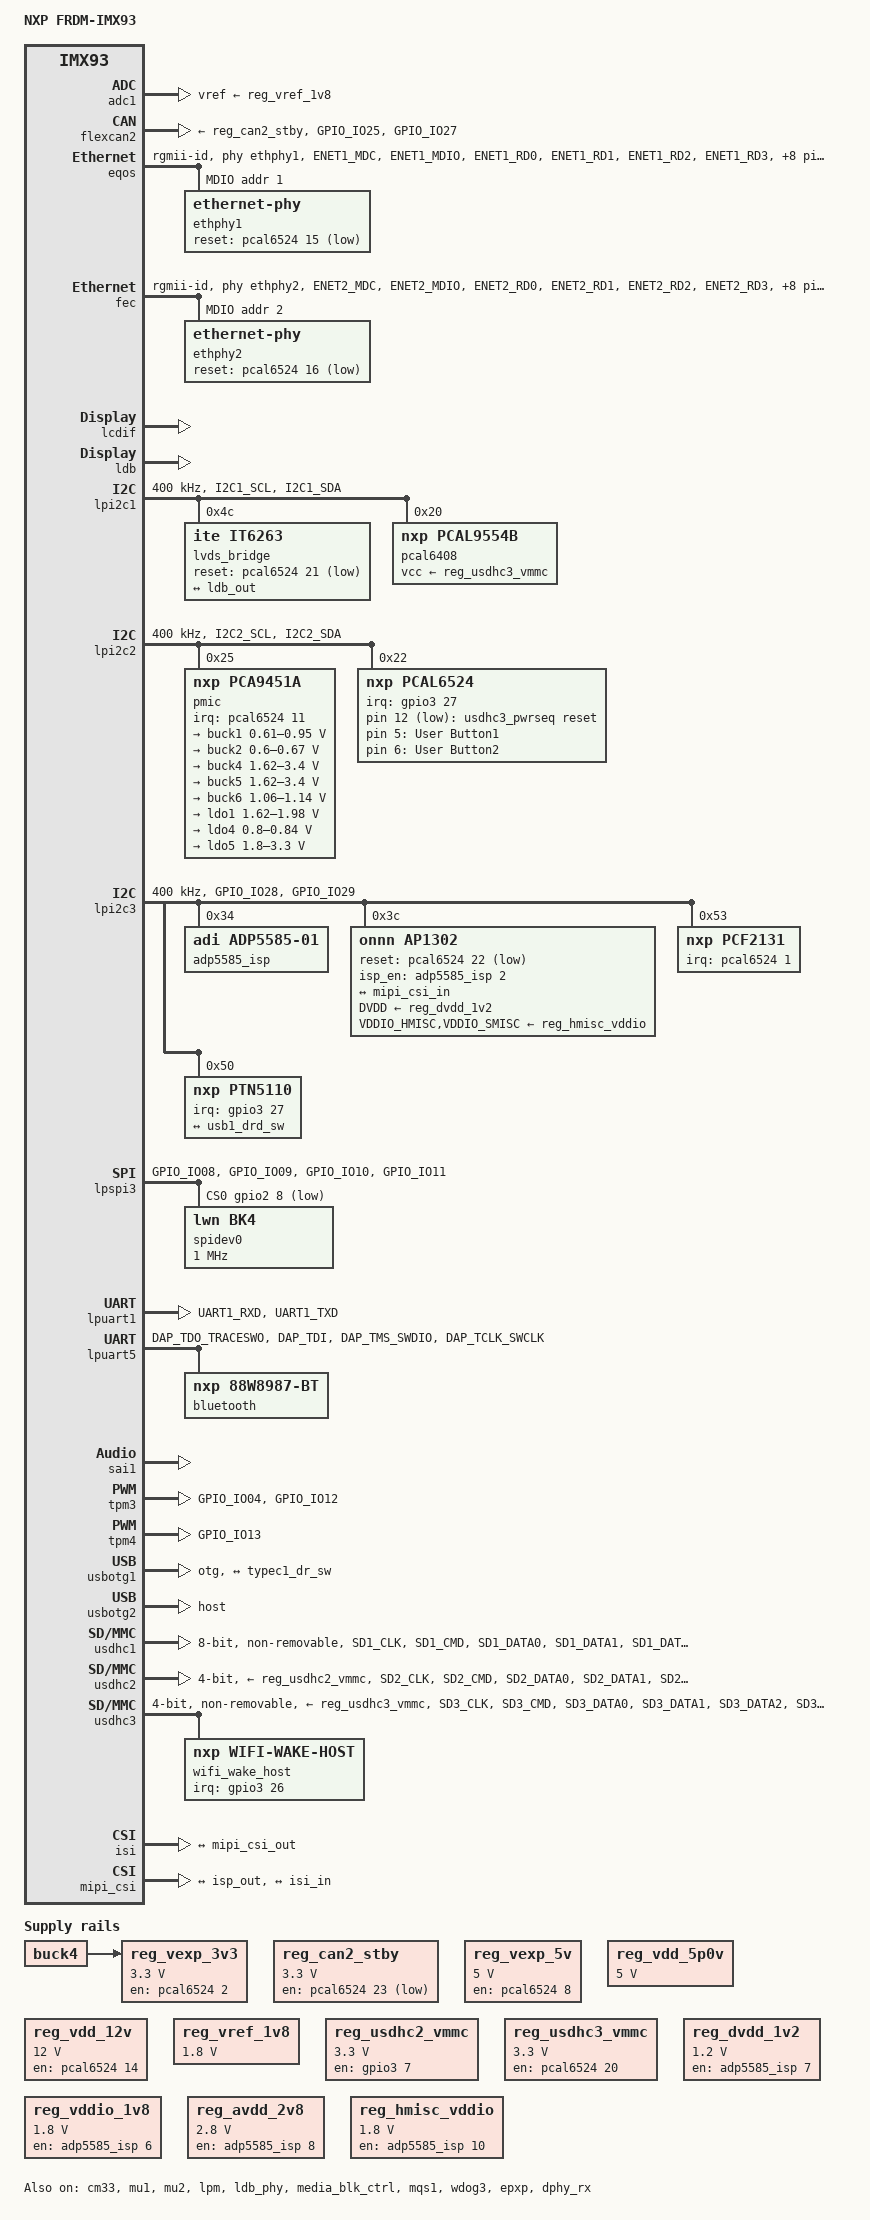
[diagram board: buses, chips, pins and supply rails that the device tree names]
// SPDX-License-Identifier: (GPL-2.0+ OR MIT)
/*
 * Copyright 2025 NXP
 */

/dts-v1/;

#include <dt-bindings/usb/pd.h>
#include "imx93.dtsi"

&ele_fw2 {
	memory-region = <&ele_reserved>;
};

/ {
	model = "NXP FRDM-IMX93";
	compatible = "fsl,frdm-imx93", "fsl,imx93";

	chosen {
		stdout-path = &lpuart1;
	};

	reserved-memory {
		#address-cells = <2>;
		#size-cells = <2>;
		ranges;

		linux,cma {
			compatible = "shared-dma-pool";
			reusable;
			alloc-ranges = <0 0x80000000 0 0x30000000>;
			size = <0 0x10000000>;
			linux,cma-default;
		};

		ethosu_mem: ethosu_region@A8000000 {
			compatible = "shared-dma-pool";
			reusable;
			reg = <0x0 0xA8000000 0x0 0x08000000>;
		};

		vdev0vring0: vdev0vring0@a4000000 {
			reg = <0 0xa4000000 0 0x8000>;
			no-map;
		};

		vdev0vring1: vdev0vring1@a4008000 {
			reg = <0 0xa4008000 0 0x8000>;
			no-map;
		};

		vdev1vring0: vdev1vring0@a4010000 {
			reg = <0 0xa4010000 0 0x8000>;
			no-map;
		};

		vdev1vring1: vdev1vring1@a4018000 {
			reg = <0 0xa4018000 0 0x8000>;
			no-map;
		};

		rsc_table: rsc-table@2021e000 {
			reg = <0 0x2021e000 0 0x1000>;
			no-map;
		};

		vdevbuffer: vdevbuffer@a4020000 {
			compatible = "shared-dma-pool";
			reg = <0 0xa4020000 0 0x100000>;
			no-map;
		};

		ele_reserved: ele-reserved@a4120000 {
			compatible = "shared-dma-pool";
			reg = <0 0xa4120000 0 0x100000>;
			no-map;
		};
	};

	ethosu {
		compatible = "arm,ethosu";
		fsl,cm33-proc = <&cm33>;
		memory-region = <&ethosu_mem>;
		power-domains = <&mlmix>;
	};

	reg_can2_stby: regulator-can2-stby {
		compatible = "regulator-fixed";
		regulator-name = "can2-stby";
		regulator-min-microvolt = <3300000>;
		regulator-max-microvolt = <3300000>;
		gpio = <&pcal6524 23 GPIO_ACTIVE_LOW>;
		enable-active-low;
	};

	reg_vexp_3v3: regulator-vexp-3v3 {
		compatible = "regulator-fixed";
		regulator-name = "VEXP_3V3";
		gpio = <&pcal6524 2 GPIO_ACTIVE_HIGH>;
		regulator-min-microvolt = <3300000>;
		regulator-max-microvolt = <3300000>;
		enable-active-high;
		vin-supply = <&buck4>;
	};

	reg_vexp_5v: regulator-vexp-5v {
		compatible = "regulator-fixed";
		regulator-name = "VEXP_5V";
		gpio = <&pcal6524 8 GPIO_ACTIVE_HIGH>;
		regulator-min-microvolt = <5000000>;
		regulator-max-microvolt = <5000000>;
		enable-active-high;
	};

	reg_vdd_5p0v: regulator-vdd-5p0v {
		compatible = "regulator-fixed";
		regulator-name = "VDD-5P0V";
		regulator-min-microvolt = <5000000>;
		regulator-max-microvolt = <5000000>;
		regulator-always-on;
	};

	reg_vdd_12v: regulator-vdd-12v {
		compatible = "regulator-fixed";
		regulator-name = "reg_vdd_12v";
		regulator-min-microvolt = <12000000>;
		regulator-max-microvolt = <12000000>;
		gpio = <&pcal6524 14 GPIO_ACTIVE_HIGH>;
		enable-active-high;
	};

	reg_vref_1v8: regulator-adc-vref {
		compatible = "regulator-fixed";
		regulator-name = "vref_1v8";
		regulator-min-microvolt = <1800000>;
		regulator-max-microvolt = <1800000>;
	};

	reg_usdhc2_vmmc: regulator-usdhc2 {
		compatible = "regulator-fixed";
		pinctrl-names = "default";
		pinctrl-0 = <&pinctrl_reg_usdhc2_vmmc>;
		regulator-name = "VSD_3V3";
		regulator-min-microvolt = <3300000>;
		regulator-max-microvolt = <3300000>;
		gpio = <&gpio3 7 GPIO_ACTIVE_HIGH>;
		off-on-delay-us = <12000>;
		enable-active-high;
	};

	reg_usdhc3_vmmc: regulator-usdhc3 {
		compatible = "regulator-fixed";
		regulator-name = "WLAN_EN";
		regulator-min-microvolt = <3300000>;
		regulator-max-microvolt = <3300000>;
		gpio = <&pcal6524 20 GPIO_ACTIVE_HIGH>;
		/*
		 * IW612 wifi chip needs more delay than other wifi chips to complete
		 * the host interface initialization after power up, otherwise the
		 * internal state of IW612 may be unstable, resulting in the failure of
		 * the SDIO3.0 switch voltage.
		 */
		startup-delay-us = <20000>;
		enable-active-high;
	};

	usdhc3_pwrseq: usdhc3_pwrseq {
		compatible = "mmc-pwrseq-simple";
		reset-gpios = <&pcal6524 12 GPIO_ACTIVE_LOW>;
	};

	reg_dvdd_1v2: regulator-dvdd {
		compatible = "regulator-fixed";
		regulator-name = "DVDD_1V2";
		gpio = <&adp5585_isp 7 GPIO_ACTIVE_HIGH>;
		regulator-min-microvolt = <1200000>;
		regulator-max-microvolt = <1200000>;
		enable-active-high;
	};

	reg_vddio_1v8: regulator-vddo {
		compatible = "regulator-fixed";
		regulator-name = "VDDIO_1V8";
		gpio = <&adp5585_isp 6 GPIO_ACTIVE_HIGH>;
		regulator-min-microvolt = <1800000>;
		regulator-max-microvolt = <1800000>;
		enable-active-high;
	};

	reg_avdd_2v8: regulator-avdd {
		compatible = "regulator-fixed";
		regulator-name = "AVDD_2V8";
		gpio = <&adp5585_isp 8 GPIO_ACTIVE_HIGH>;
		regulator-min-microvolt = <2800000>;
		regulator-max-microvolt = <2800000>;
		enable-active-high;
	};

	reg_hmisc_vddio: regulator-hmisc-vddio {
		compatible = "regulator-fixed";
		regulator-name = "HMISC_VDDIO_1V8";
		gpio = <&adp5585_isp 10 GPIO_ACTIVE_HIGH>;
		regulator-min-microvolt = <1800000>;
		regulator-max-microvolt = <1800000>;
		enable-active-high;
	};

	sound-mqs {
		compatible = "fsl,imx6sx-sdb-mqs",
			     "fsl,imx-audio-mqs";
		model = "mqs-audio";
		audio-cpu = <&sai1>;
		audio-codec = <&mqs1>;
	};

	sw-keys {
		compatible = "gpio-keys";

		K2: user_btn1 {
			label = "User Button1";
			linux,code = <BTN_1>;
			gpios = <&pcal6524 5 GPIO_PULL_UP>;
			interrupt-parent = <&pcal6524>;
			interrupts = <5 IRQ_TYPE_EDGE_FALLING>;
		};

		K3: user_btn2 {
			label = "User Button2";
			linux,code = <BTN_2>;
			gpios = <&pcal6524 6 GPIO_PULL_UP>;
			interrupt-parent = <&pcal6524>;
			interrupts = <6 IRQ_TYPE_EDGE_FALLING>;
		};
	};
};

&adc1 {
	vref-supply = <&reg_vref_1v8>;
	status = "okay";
};

&cm33 {
	mbox-names = "tx", "rx", "rxdb";
	mboxes = <&mu1 0 1>,
		 <&mu1 1 1>,
		 <&mu1 3 1>;
	memory-region = <&vdevbuffer>, <&vdev0vring0>, <&vdev0vring1>,
			<&vdev1vring0>, <&vdev1vring1>, <&rsc_table>;
	fsl,startup-delay-ms = <500>;
	status = "okay";
};

&flexcan2 {
	pinctrl-names = "default", "sleep";
	pinctrl-0 = <&pinctrl_flexcan2>;
	pinctrl-1 = <&pinctrl_flexcan2_sleep>;
	xceiver-supply = <&reg_can2_stby>;
	status = "okay";
};

&mu1 {
	status = "okay";
};

&mu2 {
	status = "okay";
};

&eqos {
	pinctrl-names = "default", "sleep";
	pinctrl-0 = <&pinctrl_eqos>;
	pinctrl-1 = <&pinctrl_eqos_sleep>;
	phy-mode = "rgmii-id";
	phy-handle = <&ethphy1>;
	status = "okay";

	mdio {
		compatible = "snps,dwmac-mdio";
		#address-cells = <1>;
		#size-cells = <0>;
		clock-frequency = <5000000>;

		ethphy1: ethernet-phy@1 {
			reg = <1>;
			reset-gpios = <&pcal6524 15 GPIO_ACTIVE_LOW>;
			reset-assert-us = <10000>;
			reset-deassert-us = <80000>;
		};
	};
};

&fec {
	pinctrl-names = "default", "sleep";
	pinctrl-0 = <&pinctrl_fec>;
	pinctrl-1 = <&pinctrl_fec_sleep>;
	phy-mode = "rgmii-id";
	phy-handle = <&ethphy2>;
	fsl,magic-packet;
	status = "okay";

	mdio {
		#address-cells = <1>;
		#size-cells = <0>;
		clock-frequency = <5000000>;

		ethphy2: ethernet-phy@2 {
			reg = <2>;
			eee-broken-1000t;
			reset-gpios = <&pcal6524 16 GPIO_ACTIVE_LOW>;
			reset-assert-us = <10000>;
			reset-deassert-us = <80000>;
		};
	};
};

&lcdif {
	status = "okay";
	assigned-clock-rates = <1039500000>, <148444444>, <400000000>, <133333333>;
};

&lpm {
	soc-supply = <&buck1>;
	status = "okay";
};

&ldb {
	status = "okay";

	lvds-channel@0 {
		status = "okay";

		port@1 {
			reg = <1>;

			ldb_out: endpoint {
				remote-endpoint = <&it6263_0_in>;
			};
		};
	};
};

&ldb_phy {
	status = "okay";
};

&lpi2c1 {
	#address-cells = <1>;
	#size-cells = <0>;
	clock-frequency = <400000>;
	pinctrl-names = "default", "sleep";
	pinctrl-0 = <&pinctrl_lpi2c1>;
	pinctrl-1 = <&pinctrl_lpi2c1>;
	status = "okay";

	lvds_bridge: lvds-to-hdmi-bridge@4c {
		compatible = "ite,it6263";
		reg = <0x4c>;
		reset-gpio = <&pcal6524 21 GPIO_ACTIVE_LOW>;
		status = "okay";

		port {
			it6263_0_in: endpoint {
				remote-endpoint = <&ldb_out>;
			};
		};
	};

	pcal6408: gpio@20 {
		compatible = "nxp,pcal9554b";
		reg = <0x20>;
		gpio-controller;
		#gpio-cells = <2>;
		vcc-supply = <&reg_usdhc3_vmmc>;
		status = "okay";
	};

};

&lpi2c2 {
	#address-cells = <1>;
	#size-cells = <0>;
	clock-frequency = <400000>;
	pinctrl-names = "default", "sleep";
	pinctrl-0 = <&pinctrl_lpi2c2>;
	pinctrl-1 = <&pinctrl_lpi2c2>;
	status = "okay";

	pmic@25 {
		compatible = "nxp,pca9451a";
		reg = <0x25>;
		interrupt-parent = <&pcal6524>;
		interrupts = <11 IRQ_TYPE_EDGE_FALLING>;

		regulators {
			buck1: BUCK1 {
				regulator-name = "BUCK1";
				regulator-min-microvolt = <610000>;
				regulator-max-microvolt = <950000>;
				regulator-boot-on;
				regulator-always-on;
				regulator-ramp-delay = <3125>;
			};

			buck2: BUCK2 {
				regulator-name = "BUCK2";
				regulator-min-microvolt = <600000>;
				regulator-max-microvolt = <670000>;
				regulator-boot-on;
				regulator-always-on;
				regulator-ramp-delay = <3125>;
			};

			buck4: BUCK4{
				regulator-name = "BUCK4";
				regulator-min-microvolt = <1620000>;
				regulator-max-microvolt = <3400000>;
				regulator-boot-on;
				regulator-always-on;
			};

			buck5: BUCK5{
				regulator-name = "BUCK5";
				regulator-min-microvolt = <1620000>;
				regulator-max-microvolt = <3400000>;
				regulator-boot-on;
				regulator-always-on;
			};

			buck6: BUCK6 {
				regulator-name = "BUCK6";
				regulator-min-microvolt = <1060000>;
				regulator-max-microvolt = <1140000>;
				regulator-boot-on;
				regulator-always-on;
			};

			ldo1: LDO1 {
				regulator-name = "LDO1";
				regulator-min-microvolt = <1620000>;
				regulator-max-microvolt = <1980000>;
				regulator-boot-on;
				regulator-always-on;
			};

			ldo4: LDO4 {
				regulator-name = "LDO4";
				regulator-min-microvolt = <800000>;
				regulator-max-microvolt = <840000>;
				regulator-boot-on;
				regulator-always-on;
			};

			ldo5: LDO5 {
				regulator-name = "LDO5";
				regulator-min-microvolt = <1800000>;
				regulator-max-microvolt = <3300000>;
				regulator-boot-on;
				regulator-always-on;
			};
		};
	};

	pcal6524: gpio@22 {
		compatible = "nxp,pcal6524";
		pinctrl-names = "default";
		pinctrl-0 = <&pinctrl_pcal6524>;
		reg = <0x22>;
		gpio-controller;
		#gpio-cells = <2>;
		interrupt-controller;
		#interrupt-cells = <2>;
		interrupt-parent = <&gpio3>;
		interrupts = <27 IRQ_TYPE_LEVEL_LOW>;
	};
};

&lpi2c3 {
	clock-frequency = <400000>;
	pinctrl-names = "default";
	pinctrl-0 = <&pinctrl_lpi2c3>;
	status = "okay";

	adp5585_isp: io-expander-isp@34 {
		compatible = "adi,adp5585-01", "adi,adp5585";
		reg = <0x34>;
		gpio-controller;
		#gpio-cells = <2>;
		#pwm-cells = <3>;
	};

	ap1302: ap1302_mipi@3c {
		compatible = "onnn,ap1302";
		reg = <0x3c>;
		clocks = <&clk IMX93_CLK_24M>;
		reset-gpios   = <&pcal6524 22 GPIO_ACTIVE_LOW>;
		isp_en-gpios  = <&adp5585_isp 2 GPIO_ACTIVE_HIGH>;
		orientation = <2>;
		rotation = <0>;
		DVDD-supply   = <&reg_dvdd_1v2>;
		VDDIO_HMISC-supply  = <&reg_hmisc_vddio>;
		VDDIO_SMISC-supply   = <&reg_hmisc_vddio>;
		status = "okay";

		ports {
			#address-cells = <1>;
			#size-cells = <0>;

			port@0 {
				reg = <0>;
			};

			port@1 {
				reg = <1>;
			};

			port@2 {
				reg = <2>;

				isp_out: endpoint {
					remote-endpoint = <&mipi_csi_in>;
					data-lanes = <1 2>;
				};
			};
		};

		sensors {
			#address-cells = <1>;
			#size-cells = <0>;

			onnn,model = "onnn,ar0144";

			sensor@0 {
				reg = <0>;

				vdd-supply = <&reg_dvdd_1v2>;
				vddio-supply = <&reg_vddio_1v8>;
				vaa-supply = <&reg_avdd_2v8>;
			};
		};
	};

	pcf2131: rtc@53 {
			compatible = "nxp,pcf2131";
			reg = <0x53>;
			interrupt-parent = <&pcal6524>;
			interrupts = <1 IRQ_TYPE_EDGE_FALLING>;
			status = "okay";
	};

	ptn5110: tcpc@50 {
		compatible = "nxp,ptn5110", "tcpci";
		reg = <0x50>;
		interrupt-parent = <&gpio3>;
		interrupts = <27 IRQ_TYPE_LEVEL_LOW>;

		typec1_con: connector {
			compatible = "usb-c-connector";
			label = "USB-C";
			power-role = "dual";
			data-role = "dual";
			try-power-role = "sink";
			source-pdos = <PDO_FIXED(5000, 3000, PDO_FIXED_USB_COMM)>;
			sink-pdos = <PDO_FIXED(5000, 3000, PDO_FIXED_USB_COMM)
				     PDO_VAR(5000, 20000, 3000)>;
			op-sink-microwatt = <15000000>;
			self-powered;

			ports {
				#address-cells = <1>;
				#size-cells = <0>;

				port@0 {
					reg = <0>;

					typec1_dr_sw: endpoint {
						remote-endpoint = <&usb1_drd_sw>;
					};
				};
			};
		};
	};
};

&lpspi3 {
	fsl,spi-num-chipselects = <1>;
	pinctrl-names = "default";
	pinctrl-0 = <&pinctrl_lpspi3>;
	cs-gpios = <&gpio2 8 GPIO_ACTIVE_LOW>;
	pinctrl-assert-gpios = <&pcal6408 0 GPIO_ACTIVE_HIGH>;
	status = "okay";

	spidev0: spi@0 {
		reg = <0>;
		compatible = "lwn,bk4";
		spi-max-frequency = <1000000>;
	};
};

&lpuart1 { /* console */
	pinctrl-names = "default";
	pinctrl-0 = <&pinctrl_uart1>;
	status = "okay";
};

&lpuart5 {
	/* BT */
	pinctrl-names = "default";
	pinctrl-assert-gpios = <&pcal6524 19 GPIO_ACTIVE_HIGH>;
	pinctrl-0 = <&pinctrl_uart5>;
	status = "okay";

	bluetooth {
		compatible = "nxp,88w8987-bt";
	};
};

&media_blk_ctrl {
	status = "okay";
};

&mqs1 {
	pinctrl-names = "default";
	pinctrl-0 = <&pinctrl_mqs1>;
	clocks = <&clk IMX93_CLK_MQS1_GATE>;
	clock-names = "mclk";
	status = "okay";
};

&sai1 {
	#sound-dai-cells = <0>;
	clocks = <&clk IMX93_CLK_SAI1_IPG>, <&clk IMX93_CLK_DUMMY>,
		 <&clk IMX93_CLK_SAI1_GATE>, <&clk IMX93_CLK_DUMMY>,
		 <&clk IMX93_CLK_DUMMY>, <&clk IMX93_CLK_AUDIO_PLL>;
	clock-names = "bus", "mclk0", "mclk1", "mclk2", "mclk3", "pll8k";
	assigned-clocks = <&clk IMX93_CLK_SAI1>;
	assigned-clock-parents = <&clk IMX93_CLK_AUDIO_PLL>;
	assigned-clock-rates = <24576000>;
	fsl,sai-mclk-direction-output;
	status = "okay";
};

&tpm3 {
	pinctrl-names = "default";
	pinctrl-0 = <&pinctrl_led1>;
	status = "okay";
};

&tpm4 {
	pinctrl-names = "default";
	pinctrl-0 = <&pinctrl_led2>;
	status = "okay";
};

&usbotg1 {
	dr_mode = "otg";
	hnp-disable;
	srp-disable;
	adp-disable;
	usb-role-switch;
	disable-over-current;
	samsung,picophy-pre-emp-curr-control = <3>;
	samsung,picophy-dc-vol-level-adjust = <7>;
	status = "okay";

	port {
		usb1_drd_sw: endpoint {
			remote-endpoint = <&typec1_dr_sw>;
		};
	};
};

&usbotg2 {
	dr_mode = "host";
	disable-over-current;
	samsung,picophy-pre-emp-curr-control = <3>;
	samsung,picophy-dc-vol-level-adjust = <7>;
	status = "okay";

};

&usdhc1 {
	pinctrl-names = "default", "state_100mhz", "state_200mhz";
	pinctrl-0 = <&pinctrl_usdhc1>;
	pinctrl-1 = <&pinctrl_usdhc1_100mhz>;
	pinctrl-2 = <&pinctrl_usdhc1_200mhz>;
	bus-width = <8>;
	fsl,tuning-step = <1>;
	non-removable;
	status = "okay";
};

&usdhc2 {
	pinctrl-names = "default", "state_100mhz", "state_200mhz", "sleep";
	pinctrl-0 = <&pinctrl_usdhc2>, <&pinctrl_usdhc2_gpio>;
	pinctrl-1 = <&pinctrl_usdhc2_100mhz>, <&pinctrl_usdhc2_gpio>;
	pinctrl-2 = <&pinctrl_usdhc2_200mhz>, <&pinctrl_usdhc2_gpio>;
	pinctrl-3 = <&pinctrl_usdhc2_sleep>, <&pinctrl_usdhc2_gpio_sleep>;
	cd-gpios = <&gpio3 00 GPIO_ACTIVE_LOW>;
	fsl,cd-gpio-wakeup-disable;
	vmmc-supply = <&reg_usdhc2_vmmc>;
	bus-width = <4>;
	fsl,tuning-step = <1>;
	status = "okay";
	no-mmc;
};

&usdhc3 {
	pinctrl-names = "default", "state_100mhz", "state_200mhz", "sleep";
	pinctrl-0 = <&pinctrl_usdhc3>, <&pinctrl_usdhc3_wlan>;
	pinctrl-1 = <&pinctrl_usdhc3_100mhz>, <&pinctrl_usdhc3_wlan>;
	pinctrl-2 = <&pinctrl_usdhc3_200mhz>, <&pinctrl_usdhc3_wlan>;
	pinctrl-3 = <&pinctrl_usdhc3_sleep>, <&pinctrl_usdhc3_wlan>;
	mmc-pwrseq = <&usdhc3_pwrseq>;
	vmmc-supply = <&reg_usdhc3_vmmc>;
	bus-width = <4>;
	keep-power-in-suspend;
	non-removable;
	wakeup-source;
	status = "okay";

	wifi_wake_host {
		compatible = "nxp,wifi-wake-host";
		interrupt-parent = <&gpio3>;
		interrupts = <26 IRQ_TYPE_LEVEL_LOW>;
		interrupt-names = "host-wake";
	};
};

&wdog3 {
	status = "okay";
};

&iomuxc {
	pinctrl_eqos: eqosgrp {
		fsl,pins = <
			MX93_PAD_ENET1_MDC__ENET_QOS_MDC			0x57e
			MX93_PAD_ENET1_MDIO__ENET_QOS_MDIO			0x57e
			MX93_PAD_ENET1_RD0__ENET_QOS_RGMII_RD0			0x57e
			MX93_PAD_ENET1_RD1__ENET_QOS_RGMII_RD1			0x57e
			MX93_PAD_ENET1_RD2__ENET_QOS_RGMII_RD2			0x57e
			MX93_PAD_ENET1_RD3__ENET_QOS_RGMII_RD3			0x57e
			MX93_PAD_ENET1_RXC__CCM_ENET_QOS_CLOCK_GENERATE_RX_CLK	0x58e
			MX93_PAD_ENET1_RX_CTL__ENET_QOS_RGMII_RX_CTL		0x57e
			MX93_PAD_ENET1_TD0__ENET_QOS_RGMII_TD0			0x57e
			MX93_PAD_ENET1_TD1__ENET_QOS_RGMII_TD1			0x57e
			MX93_PAD_ENET1_TD2__ENET_QOS_RGMII_TD2			0x57e
			MX93_PAD_ENET1_TD3__ENET_QOS_RGMII_TD3			0x57e
			MX93_PAD_ENET1_TXC__CCM_ENET_QOS_CLOCK_GENERATE_TX_CLK	0x58e
			MX93_PAD_ENET1_TX_CTL__ENET_QOS_RGMII_TX_CTL		0x57e
		>;
	};

	pinctrl_eqos_sleep: eqossleepgrp {
		fsl,pins = <
			MX93_PAD_ENET1_MDC__GPIO4_IO00				0x31e
			MX93_PAD_ENET1_MDIO__GPIO4_IO01				0x31e
			MX93_PAD_ENET1_RD0__GPIO4_IO10                          0x31e
			MX93_PAD_ENET1_RD1__GPIO4_IO11				0x31e
			MX93_PAD_ENET1_RD2__GPIO4_IO12				0x31e
			MX93_PAD_ENET1_RD3__GPIO4_IO13				0x31e
			MX93_PAD_ENET1_RXC__GPIO4_IO09                          0x31e
			MX93_PAD_ENET1_RX_CTL__GPIO4_IO08			0x31e
			MX93_PAD_ENET1_TD0__GPIO4_IO05                          0x31e
			MX93_PAD_ENET1_TD1__GPIO4_IO04                          0x31e
			MX93_PAD_ENET1_TD2__GPIO4_IO03				0x31e
			MX93_PAD_ENET1_TD3__GPIO4_IO02				0x31e
			MX93_PAD_ENET1_TXC__GPIO4_IO07                          0x31e
			MX93_PAD_ENET1_TX_CTL__GPIO4_IO06                       0x31e
		>;
	};

	pinctrl_fec: fecgrp {
		fsl,pins = <
			MX93_PAD_ENET2_MDC__ENET1_MDC			0x57e
			MX93_PAD_ENET2_MDIO__ENET1_MDIO			0x57e
			MX93_PAD_ENET2_RD0__ENET1_RGMII_RD0		0x57e
			MX93_PAD_ENET2_RD1__ENET1_RGMII_RD1		0x57e
			MX93_PAD_ENET2_RD2__ENET1_RGMII_RD2		0x57e
			MX93_PAD_ENET2_RD3__ENET1_RGMII_RD3		0x57e
			MX93_PAD_ENET2_RXC__ENET1_RGMII_RXC		0x58e
			MX93_PAD_ENET2_RX_CTL__ENET1_RGMII_RX_CTL	0x57e
			MX93_PAD_ENET2_TD0__ENET1_RGMII_TD0		0x57e
			MX93_PAD_ENET2_TD1__ENET1_RGMII_TD1		0x57e
			MX93_PAD_ENET2_TD2__ENET1_RGMII_TD2		0x57e
			MX93_PAD_ENET2_TD3__ENET1_RGMII_TD3		0x57e
			MX93_PAD_ENET2_TXC__ENET1_RGMII_TXC		0x58e
			MX93_PAD_ENET2_TX_CTL__ENET1_RGMII_TX_CTL	0x57e
		>;
	};

	pinctrl_fec_sleep: fecsleepgrp {
		fsl,pins = <
			MX93_PAD_ENET2_MDC__GPIO4_IO14			0x51e
			MX93_PAD_ENET2_MDIO__GPIO4_IO15			0x51e
			MX93_PAD_ENET2_RD0__GPIO4_IO24			0x51e
			MX93_PAD_ENET2_RD1__GPIO4_IO25			0x51e
			MX93_PAD_ENET2_RD2__GPIO4_IO26			0x51e
			MX93_PAD_ENET2_RD3__GPIO4_IO27			0x51e
			MX93_PAD_ENET2_RXC__GPIO4_IO23                  0x51e
			MX93_PAD_ENET2_RX_CTL__GPIO4_IO22		0x51e
			MX93_PAD_ENET2_TD0__GPIO4_IO19			0x51e
			MX93_PAD_ENET2_TD1__GPIO4_IO18			0x51e
			MX93_PAD_ENET2_TD2__GPIO4_IO17			0x51e
			MX93_PAD_ENET2_TD3__GPIO4_IO16			0x51e
			MX93_PAD_ENET2_TXC__GPIO4_IO21                  0x51e
			MX93_PAD_ENET2_TX_CTL__GPIO4_IO20               0x51e
		>;
	};

	pinctrl_flexcan2: flexcan2grp {
		fsl,pins = <
			MX93_PAD_GPIO_IO25__CAN2_TX	0x139e
			MX93_PAD_GPIO_IO27__CAN2_RX	0x139e
		>;
	};
	pinctrl_flexcan2_sleep: flexcan2sleepgrp {
		fsl,pins = <
			MX93_PAD_GPIO_IO25__GPIO2_IO25  0x31e
			MX93_PAD_GPIO_IO27__GPIO2_IO27	0x31e
		>;
	};

	pinctrl_led1: ledsgrp1 {
		fsl,pins = <
			MX93_PAD_GPIO_IO04__TPM3_CH0  0x02
			MX93_PAD_GPIO_IO12__TPM3_CH2  0x02
		>;
	};
	pinctrl_led2: ledsgrp2 {
		fsl,pins = <
			MX93_PAD_GPIO_IO13__TPM4_CH2  0x02
		>;
	};

	pinctrl_lpi2c1: lpi2c1grp {
		fsl,pins = <
			MX93_PAD_I2C1_SCL__LPI2C1_SCL			0x40000b9e
			MX93_PAD_I2C1_SDA__LPI2C1_SDA			0x40000b9e
		>;
	};

	pinctrl_lpi2c2: lpi2c2grp {
		fsl,pins = <
			MX93_PAD_I2C2_SCL__LPI2C2_SCL			0x40000b9e
			MX93_PAD_I2C2_SDA__LPI2C2_SDA			0x40000b9e
		>;
	};

	pinctrl_lpi2c3: lpi2c3grp {
		fsl,pins = <
			MX93_PAD_GPIO_IO28__LPI2C3_SDA			0x40000b9e
			MX93_PAD_GPIO_IO29__LPI2C3_SCL			0x40000b9e
		>;
	};

	pinctrl_lpspi3: lpspi3grp {
		fsl,pins = <
			MX93_PAD_GPIO_IO08__GPIO2_IO08      0x3fe
			MX93_PAD_GPIO_IO09__LPSPI3_SIN      0x3fe
			MX93_PAD_GPIO_IO10__LPSPI3_SOUT     0x3fe
			MX93_PAD_GPIO_IO11__LPSPI3_SCK      0x3fe
		>;
	};

	pinctrl_pcal6524: pcal6524grp {
		fsl,pins = <
			MX93_PAD_CCM_CLKO2__GPIO3_IO27			0x31e
		>;
	};

	pinctrl_uart1: uart1grp {
		fsl,pins = <
			MX93_PAD_UART1_RXD__LPUART1_RX			0x31e
			MX93_PAD_UART1_TXD__LPUART1_TX			0x31e
		>;
	};

	pinctrl_uart5: uart5grp {
		fsl,pins = <
			MX93_PAD_DAP_TDO_TRACESWO__LPUART5_TX	0x31e
			MX93_PAD_DAP_TDI__LPUART5_RX		0x31e
			MX93_PAD_DAP_TMS_SWDIO__LPUART5_RTS_B	0x31e
			MX93_PAD_DAP_TCLK_SWCLK__LPUART5_CTS_B	0x31e
		>;
	};

	/* need to config the SION for data and cmd pad, refer to ERR052021 */
	pinctrl_usdhc1: usdhc1grp {
		fsl,pins = <
			MX93_PAD_SD1_CLK__USDHC1_CLK		0x1582
			MX93_PAD_SD1_CMD__USDHC1_CMD		0x40001382
			MX93_PAD_SD1_DATA0__USDHC1_DATA0	0x40001382
			MX93_PAD_SD1_DATA1__USDHC1_DATA1	0x40001382
			MX93_PAD_SD1_DATA2__USDHC1_DATA2	0x40001382
			MX93_PAD_SD1_DATA3__USDHC1_DATA3	0x40001382
			MX93_PAD_SD1_DATA4__USDHC1_DATA4	0x40001382
			MX93_PAD_SD1_DATA5__USDHC1_DATA5	0x40001382
			MX93_PAD_SD1_DATA6__USDHC1_DATA6	0x40001382
			MX93_PAD_SD1_DATA7__USDHC1_DATA7	0x40001382
			MX93_PAD_SD1_STROBE__USDHC1_STROBE	0x1582
		>;
	};

	/* need to config the SION for data and cmd pad, refer to ERR052021 */
	pinctrl_usdhc1_100mhz: usdhc1-100mhzgrp {
		fsl,pins = <
			MX93_PAD_SD1_CLK__USDHC1_CLK		0x158e
			MX93_PAD_SD1_CMD__USDHC1_CMD		0x4000138e
			MX93_PAD_SD1_DATA0__USDHC1_DATA0	0x4000138e
			MX93_PAD_SD1_DATA1__USDHC1_DATA1	0x4000138e
			MX93_PAD_SD1_DATA2__USDHC1_DATA2	0x4000138e
			MX93_PAD_SD1_DATA3__USDHC1_DATA3	0x4000138e
			MX93_PAD_SD1_DATA4__USDHC1_DATA4	0x4000138e
			MX93_PAD_SD1_DATA5__USDHC1_DATA5	0x4000138e
			MX93_PAD_SD1_DATA6__USDHC1_DATA6	0x4000138e
			MX93_PAD_SD1_DATA7__USDHC1_DATA7	0x4000138e
			MX93_PAD_SD1_STROBE__USDHC1_STROBE	0x158e
		>;
	};

	/* need to config the SION for data and cmd pad, refer to ERR052021 */
	pinctrl_usdhc1_200mhz: usdhc1-200mhzgrp {
		fsl,pins = <
			MX93_PAD_SD1_CLK__USDHC1_CLK		0x15fe
			MX93_PAD_SD1_CMD__USDHC1_CMD		0x400013fe
			MX93_PAD_SD1_DATA0__USDHC1_DATA0	0x400013fe
			MX93_PAD_SD1_DATA1__USDHC1_DATA1	0x400013fe
			MX93_PAD_SD1_DATA2__USDHC1_DATA2	0x400013fe
			MX93_PAD_SD1_DATA3__USDHC1_DATA3	0x400013fe
			MX93_PAD_SD1_DATA4__USDHC1_DATA4	0x400013fe
			MX93_PAD_SD1_DATA5__USDHC1_DATA5	0x400013fe
			MX93_PAD_SD1_DATA6__USDHC1_DATA6	0x400013fe
			MX93_PAD_SD1_DATA7__USDHC1_DATA7	0x400013fe
			MX93_PAD_SD1_STROBE__USDHC1_STROBE	0x15fe
		>;
	};

	pinctrl_reg_usdhc2_vmmc: regusdhc2vmmcgrp {
		fsl,pins = <
			MX93_PAD_SD2_RESET_B__GPIO3_IO07	0x31e
		>;
	};

	pinctrl_usdhc2_gpio: usdhc2gpiogrp {
		fsl,pins = <
			MX93_PAD_SD2_CD_B__GPIO3_IO00		0x31e
		>;
	};

	pinctrl_usdhc2_gpio_sleep: usdhc2gpiosleepgrp {
		fsl,pins = <
			MX93_PAD_SD2_CD_B__GPIO3_IO00		0x51e
		>;
	};

	/* need to config the SION for data and cmd pad, refer to ERR052021 */
	pinctrl_usdhc2: usdhc2grp {
		fsl,pins = <
			MX93_PAD_SD2_CLK__USDHC2_CLK		0x1582
			MX93_PAD_SD2_CMD__USDHC2_CMD		0x40001382
			MX93_PAD_SD2_DATA0__USDHC2_DATA0	0x40001382
			MX93_PAD_SD2_DATA1__USDHC2_DATA1	0x40001382
			MX93_PAD_SD2_DATA2__USDHC2_DATA2	0x40001382
			MX93_PAD_SD2_DATA3__USDHC2_DATA3	0x40001382
			MX93_PAD_SD2_VSELECT__USDHC2_VSELECT	0x51e
		>;
	};

	/* need to config the SION for data and cmd pad, refer to ERR052021 */
	pinctrl_usdhc2_100mhz: usdhc2-100mhzgrp {
		fsl,pins = <
			MX93_PAD_SD2_CLK__USDHC2_CLK		0x158e
			MX93_PAD_SD2_CMD__USDHC2_CMD		0x4000138e
			MX93_PAD_SD2_DATA0__USDHC2_DATA0	0x4000138e
			MX93_PAD_SD2_DATA1__USDHC2_DATA1	0x4000138e
			MX93_PAD_SD2_DATA2__USDHC2_DATA2	0x4000138e
			MX93_PAD_SD2_DATA3__USDHC2_DATA3	0x4000138e
			MX93_PAD_SD2_VSELECT__USDHC2_VSELECT	0x51e
		>;
	};

	/* need to config the SION for data and cmd pad, refer to ERR052021 */
	pinctrl_usdhc2_200mhz: usdhc2-200mhzgrp {
		fsl,pins = <
			MX93_PAD_SD2_CLK__USDHC2_CLK		0x15fe
			MX93_PAD_SD2_CMD__USDHC2_CMD		0x400013fe
			MX93_PAD_SD2_DATA0__USDHC2_DATA0	0x400013fe
			MX93_PAD_SD2_DATA1__USDHC2_DATA1	0x400013fe
			MX93_PAD_SD2_DATA2__USDHC2_DATA2	0x400013fe
			MX93_PAD_SD2_DATA3__USDHC2_DATA3	0x400013fe
			MX93_PAD_SD2_VSELECT__USDHC2_VSELECT	0x51e
		>;
	};

	pinctrl_usdhc2_sleep: usdhc2sleepgrp {
		fsl,pins = <
			MX93_PAD_SD2_CLK__GPIO3_IO01            0x51e
			MX93_PAD_SD2_CMD__GPIO3_IO02		0x51e
			MX93_PAD_SD2_DATA0__GPIO3_IO03		0x51e
			MX93_PAD_SD2_DATA1__GPIO3_IO04		0x51e
			MX93_PAD_SD2_DATA2__GPIO3_IO05		0x51e
			MX93_PAD_SD2_DATA3__GPIO3_IO06		0x51e
			MX93_PAD_SD2_VSELECT__GPIO3_IO19	0x51e
		>;
	};

	/* need to config the SION for data and cmd pad, refer to ERR052021 */
	pinctrl_usdhc3: usdhc3grp {
		fsl,pins = <
			MX93_PAD_SD3_CLK__USDHC3_CLK		0x1582
			MX93_PAD_SD3_CMD__USDHC3_CMD		0x40001382
			MX93_PAD_SD3_DATA0__USDHC3_DATA0	0x40001382
			MX93_PAD_SD3_DATA1__USDHC3_DATA1	0x40001382
			MX93_PAD_SD3_DATA2__USDHC3_DATA2	0x40001382
			MX93_PAD_SD3_DATA3__USDHC3_DATA3	0x40001382
		>;
	};

	/* need to config the SION for data and cmd pad, refer to ERR052021 */
	pinctrl_usdhc3_100mhz: usdhc3-100mhzgrp {
		fsl,pins = <
			MX93_PAD_SD3_CLK__USDHC3_CLK		0x158e
			MX93_PAD_SD3_CMD__USDHC3_CMD		0x4000138e
			MX93_PAD_SD3_DATA0__USDHC3_DATA0	0x4000138e
			MX93_PAD_SD3_DATA1__USDHC3_DATA1	0x4000138e
			MX93_PAD_SD3_DATA2__USDHC3_DATA2	0x4000138e
			MX93_PAD_SD3_DATA3__USDHC3_DATA3	0x4000138e
		>;
	};

	/* need to config the SION for data and cmd pad, refer to ERR052021 */
	pinctrl_usdhc3_200mhz: usdhc3-200mhzgrp {
		fsl,pins = <
			MX93_PAD_SD3_CLK__USDHC3_CLK		0x15fe
			MX93_PAD_SD3_CMD__USDHC3_CMD		0x400013fe
			MX93_PAD_SD3_DATA0__USDHC3_DATA0	0x400013fe
			MX93_PAD_SD3_DATA1__USDHC3_DATA1	0x400013fe
			MX93_PAD_SD3_DATA2__USDHC3_DATA2	0x400013fe
			MX93_PAD_SD3_DATA3__USDHC3_DATA3	0x400013fe
		>;
	};

	pinctrl_usdhc3_sleep: usdhc3grpsleep {
		fsl,pins = <
			MX93_PAD_SD3_CLK__GPIO3_IO20		0x31e
			MX93_PAD_SD3_CMD__GPIO3_IO21		0x31e
			MX93_PAD_SD3_DATA0__GPIO3_IO22		0x31e
			MX93_PAD_SD3_DATA1__GPIO3_IO23		0x31e
			MX93_PAD_SD3_DATA2__GPIO3_IO24		0x31e
			MX93_PAD_SD3_DATA3__GPIO3_IO25		0x31e
		>;
	};

	pinctrl_usdhc3_wlan: usdhc3wlangrp {
		fsl,pins = <
			MX93_PAD_CCM_CLKO1__GPIO3_IO26		0x31e
		>;
	};

	pinctrl_mqs1: mqs1grp {
		fsl,pins = <
			MX93_PAD_PDM_CLK__MQS1_LEFT		0x31e
			MX93_PAD_PDM_BIT_STREAM0__MQS1_RIGHT	0x31e
		>;
	};
};

&epxp {
	status = "okay";
};

&isi {
	status = "okay";

	port {
		isi_in: endpoint {
			remote-endpoint = <&mipi_csi_out>;
		};
	};
};

&mipi_csi {
	status = "okay";

	ports {
		#address-cells = <1>;
		#size-cells = <0>;

		port@0 {
			reg = <0>;

			mipi_csi_in: endpoint {
				remote-endpoint = <&isp_out>;
				data-lanes = <1 2>;
				clock-lanes = <0>;
			};
		};

		port@1 {
			reg = <1>;

			mipi_csi_out: endpoint {
				remote-endpoint = <&isi_in>;
			};
		};
	};
};

&dphy_rx {
	status = "okay";
};
